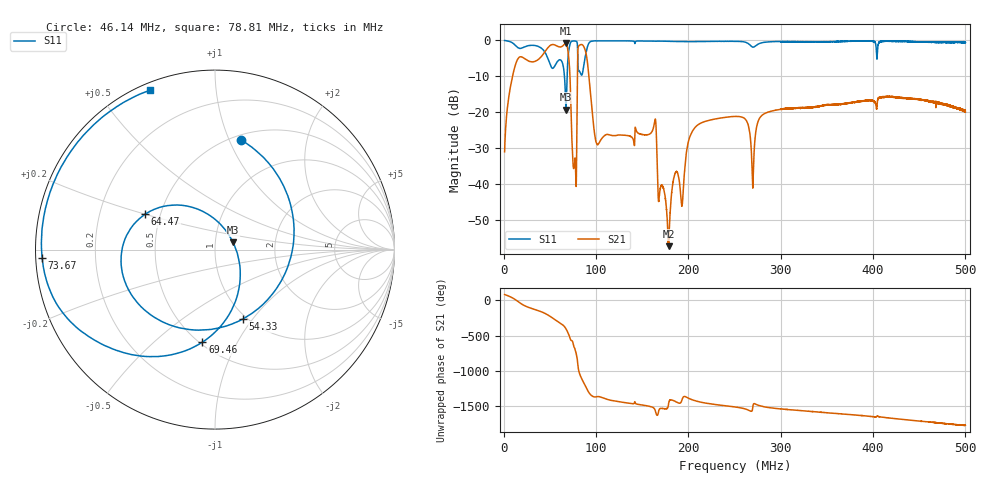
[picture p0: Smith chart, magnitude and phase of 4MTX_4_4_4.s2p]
! NanoVNA-App
! Date: 2026-08-18 20:46:58
! Start: 1MHz Stop: 500MHz Points: 6401
! S-Parameter data: F S11 S21 S12 S22
# Hz S RI R 50
!  Frequency  S11_Real  S11_Imag  S21_Real  S21_Imag  S12_Real  S12_Imag  S22_Real  S22_Imag
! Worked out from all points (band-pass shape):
!   6401 points, 1 MHz to 500 MHz, reference 50 ohm
!   highest |S21| = -0.88 dB at 67.2 MHz (marker M1); lowest = -57.3 dB at 178.5 MHz (marker M2)
!   |S21| within 3 dB of the highest: 42.9 MHz to 70.02 MHz (27.13 MHz wide, 48 % of centre); 80.23 MHz to 89.33 MHz (9.109 MHz wide, 10.7 % of centre)
!   lowest |S11| = -19.3 dB at 67.51 MHz (marker M3), VSWR 1.24, Z = 61 + j4.94 ohm
!   |S11| at or under -10 dB: 65.8 MHz to 68.62 MHz (2.827 MHz wide, 4.21 % of centre)
!   S12 and S22 are empty: the file has one direction only
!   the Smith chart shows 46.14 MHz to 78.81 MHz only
!   S11 on the Smith chart (normalised r, x): 46.14 MHz: 0.55, +1.11; 54.33 MHz: 0.96, -0.90; 64.47 MHz: 0.41, +0.20; 69.46 MHz: 0.52, -0.73; 73.67 MHz: 0.02, -0.02; 78.81 MHz: 0.03, +0.67
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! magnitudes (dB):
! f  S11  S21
! 1 MHz  -0.1  -31.1
! 14.49 MHz  -1.9  -5.6
! 46.14 MHz  -4.0  -2.7
! 54.33 MHz  -7.6  -1.3
! 64.47 MHz  -7.2  -1.5
! 67.2 MHz  -18.1  -0.9
! 67.51 MHz  -19.3  -0.9
! 69.46 MHz  -5.7  -2.7
! 73.67 MHz  -0.3  -26.3
! 76.55 MHz  -0.2  -35.2
! 78.81 MHz  -0.4  -36.4
! 84.19 MHz  -9.7  -1.2
! 101 MHz  -0.2  -29.0
! 162.8 MHz  -0.3  -23.7
! 167.4 MHz  -0.3  -44.0
! 178.5 MHz  -0.3  -57.3
! 205 MHz  -0.4  -25.1
! 250.5 MHz  -0.3  -21.2
! 269.8 MHz  -2.0  -41.2
! 333.7 MHz  -0.5  -18.7
! 416.9 MHz  -0.4  -15.8
! 500 MHz  -0.7  -20.0
